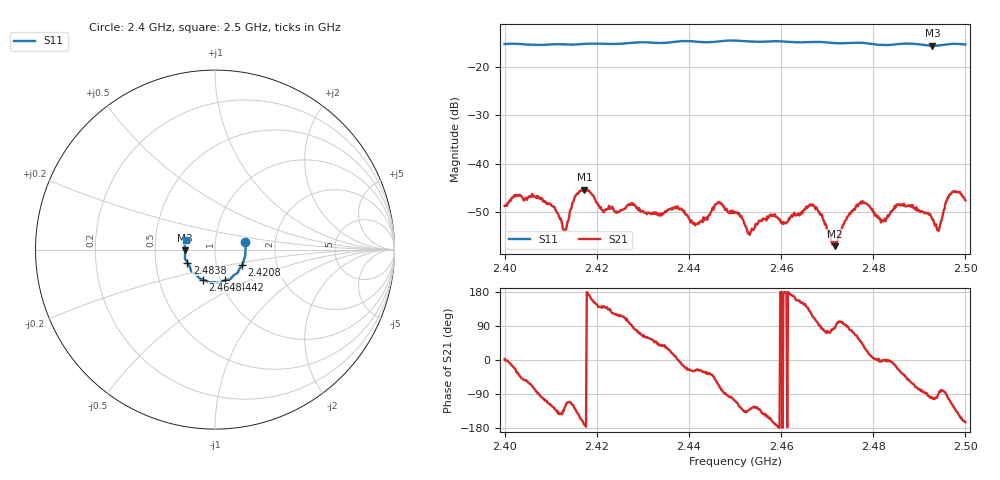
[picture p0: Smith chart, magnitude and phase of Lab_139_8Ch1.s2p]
# Hz S RI R 50
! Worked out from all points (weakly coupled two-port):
!   601 points, 2.4 GHz to 2.5 GHz, reference 50 ohm
!   highest |S21| = -45.38 dB at 2.4173 GHz (marker M1); lowest = -57.1 dB at 2.4717 GHz (marker M2)
!   lowest |S11| = -15.6 dB at 2.4928 GHz (marker M3), VSWR 1.40, Z = 35.8 - j0.363 ohm
!   |S11| at or under -10 dB: start of sweep to end of sweep
!   S12 and S22 are empty: the file has one direction only
!   S11 on the Smith chart (normalised r, x): 2.4 GHz: 1.40, +0.12; 2.4208 GHz: 1.33, -0.24; 2.4442 GHz: 1.05, -0.37; 2.4648 GHz: 0.83, -0.29; 2.4838 GHz: 0.73, -0.11; 2.5 GHz: 0.72, +0.08
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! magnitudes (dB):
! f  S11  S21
! 2.4 GHz  -15.2  -48.7
! 2.4075 GHz  -15.4  -47.2
! 2.413 GHz  -15.3  -53.7
! 2.4167 GHz  -15.2  -45.6
! 2.4173 GHz  -15.2  -45.4
! 2.4208 GHz  -15.2  -49.0
! 2.4333 GHz  -15.0  -50.6
! 2.4442 GHz  -14.9  -50.9
! 2.4465 GHz  -14.7  -47.9
! 2.45 GHz  -14.5  -50.0
! 2.4532 GHz  -14.7  -54.8
! 2.4648 GHz  -14.9  -49.7
! 2.4667 GHz  -14.8  -48.7
! 2.4717 GHz  -15.1  -57.1
! 2.4773 GHz  -15.0  -47.9
! 2.4833 GHz  -15.5  -50.9
! 2.4838 GHz  -15.4  -49.9
! 2.488 GHz  -15.2  -48.8
! 2.4928 GHz  -15.6  -51.6
! 2.4943 GHz  -15.5  -53.5
! 2.4972 GHz  -15.2  -45.8
! 2.5 GHz  -15.4  -47.6
